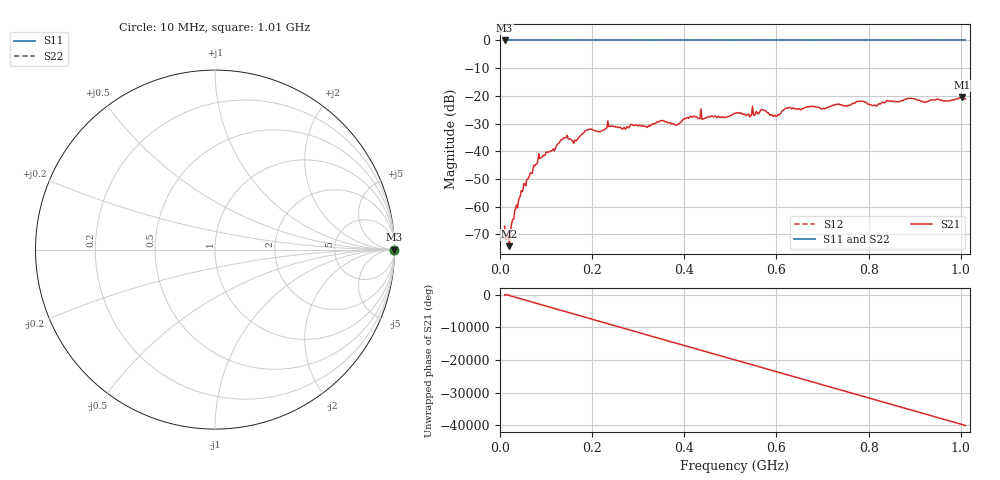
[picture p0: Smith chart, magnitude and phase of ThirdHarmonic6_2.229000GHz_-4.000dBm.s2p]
! 8/17/2025 2:31:17 AM
! C:\ANRITSUVNA\TEMP\TEMP.S2P
! CHANNEL.1
! TR.MEASUREMENT
! RAW.DATA
! RF.CORRECTION.OFF
! AVERAGING.OFF
! IF.BANDWIDTH: 5KHZ
! SWEEPTYPE:  FREQ.SWEEP(Linear)
! Reference Plane Port Info
! PORT:  PORT1  PORT2
! DISTANCE:  0  m  0  m
! TIME:  0  s  0  s
! PHASE.OFFSET:  0  deg.  0  deg.
! LOSS:  0  dB  0  dB
! REF.LOSS:  0  dB  0  dB
! REF.FREQ:  0  Hz  0  Hz
! Power Info
! POWER:  -20  dBm  -20  dBm
! EFF.POWER:  -20  dBm  -20  dBm
! SOURCE.ATTEN:  0  dB  0  dB
! TEST.ATTEN:  0  dB  0  dB
# GHZ S RI R 50.0
! FREQ.GHZ  S11RE  S11IM  S21RE  S21IM  S12RE  S12IM  S22RE  S22IM
!; PortSelection: Port_12
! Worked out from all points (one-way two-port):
!   501 points, 10 MHz to 1.01 GHz, reference 50 ohm
!   highest |S21| = -20.57 dB at 1.002 GHz (marker M1); lowest = -74.3 dB at 20 MHz (marker M2)
!   lowest |S11| = 0.0 dB at 10 MHz (marker M3)
!   |S11| at or under -10 dB: nowhere
!   |S22| runs from 0.0 to 0.0 dB; largest |S21 - S12| = 1.1
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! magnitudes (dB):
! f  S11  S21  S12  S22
! 10 MHz  0.0  -67.0  0.0  0.0
! 16 MHz  0.0  -72.0  0.0  0.0
! 20 MHz  0.0  -74.3  0.0  0.0
! 32 MHz  0.0  -61.4  0.0  0.0
! 48 MHz  0.0  -54.6  0.0  0.0
! 84 MHz  0.0  -40.9  0.0  0.0
! 142 MHz  0.0  -35.1  0.0  0.0
! 162 MHz  0.0  -36.0  0.0  0.0
! 178 MHz  0.0  -33.8  0.0  0.0
! 238 MHz  0.0  -30.9  0.0  0.0
! 268 MHz  0.0  -31.6  0.0  0.0
! 344 MHz  0.0  -29.4  0.0  0.0
! 382 MHz  0.0  -30.5  0.0  0.0
! 416 MHz  0.0  -27.7  0.0  0.0
! 510 MHz  0.0  -26.3  0.0  0.0
! 570 MHz  0.0  -25.0  0.0  0.0
! 596 MHz  0.0  -26.9  0.0  0.0
! 624 MHz  0.0  -24.3  0.0  0.0
! 678 MHz  0.0  -23.8  0.0  0.0
! 844 MHz  0.0  -21.8  0.0  0.0
! 1.002 GHz  0.0  -20.6  0.0  0.0
! 1.01 GHz  0.0  -21.1  0.0  0.0
